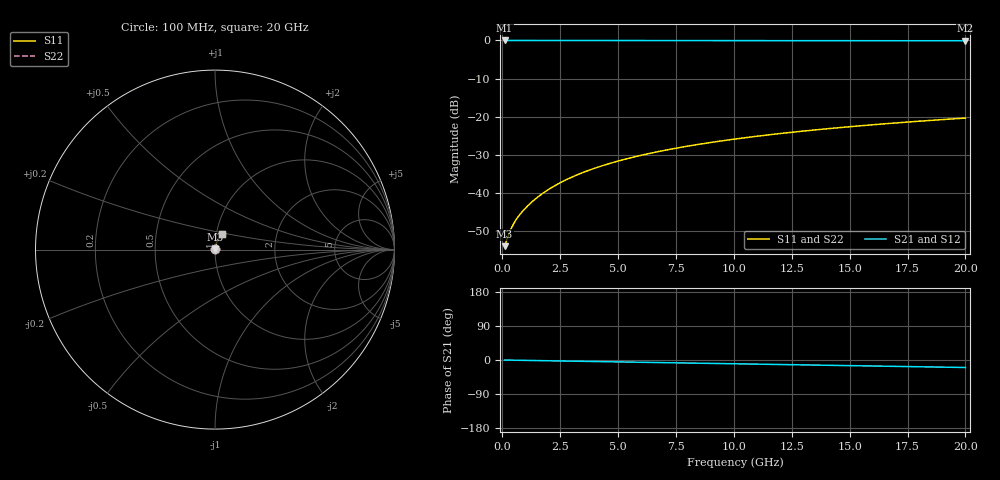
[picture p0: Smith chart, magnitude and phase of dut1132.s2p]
! Touchstone file exported from HFSS 2026.1.0
!  File:  C:/ffzhzh/LocalFiles/Ansys_Project_Files/temp_train_BSMRDL_1132_1783175298_51560.aedt
!  Generated:  10:29:29 PM Jul  4, 2026
!  Design:  BSMRDL
!  Project:  temp_train_BSMRDL_1132_1783175298_51560
! Variables:
!  h_bsmrdl = 2.68um
!  h_ox = 20um
!  h_rdl = 5um
!  h_sub = 80um
!  h_tmrdl = 5um
!  h_tsv = 80um
!  h_via = 3um
!  l_bsmrdl = 315.3um
!  l_sub = 715.3um
!  l_tmrdl = 200um
!  m_sub = 200um
!  pitch = 36.55um
!  r_tsv = 6um
!  s_tmrdl = 10um
!  w_bsmrdl = 27.52um
!  w_sub = 500um
!  w_tmrdl = 12um
!  x_tsv_center1 = 206um
!  x_tsv_center2 = 548.82um
!  x_tsv_center3 = 760.82um
!  x_tsv_center4 = 1103.64um
!  x_tsv_center5 = 1315.64um
!  x_tsv_center6 = 1658.46um
# GHz S MA R 50.000000
! Terminal data exported
! Port[1] = BSM_RDL1_1_T1
! Port[2] = BSM_RDL1_1_T2
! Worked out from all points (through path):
!   200 points, 100 MHz to 20 GHz, reference 50 ohm
!   highest |S21| = -0.02 dB at 100 MHz (marker M1); lowest = -0.1 dB at 20 GHz (marker M2)
!   group delay of S21, straight-line fit = 2.74 ps
!   lowest |S11| = -53.9 dB at 100 MHz (marker M3), VSWR 1.00, Z = 50.2 + j0.0748 ohm
!   |S11| at or under -10 dB: start of sweep to end of sweep
!   |S22| runs from -53.9 to -20.4 dB; largest |S21 - S12| = 2e-15
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0.1  0.002011 21.8  0.9981 -0.1  0.9981 -0.1  0.002011 21.8
! Gamma 0 0 0 0
! Port Impedance 50 0 50 0
0.3  0.002984 44.0  0.9979 -0.3  0.9979 -0.3  0.002984 44.0
0.4  0.003508 49.0  0.9977 -0.4  0.9977 -0.4  0.003508 49.0
0.5  0.004008 52.5  0.9976 -0.5  0.9976 -0.5  0.004008 52.5
0.6  0.004488 55.2  0.9975 -0.6  0.9975 -0.6  0.004488 55.2
0.8  0.005418 59.5  0.9973 -0.8  0.9973 -0.8  0.005418 59.5
1  0.00634 62.9  0.9972 -1.0  0.9972 -1.0  0.00634 62.9
1.2  0.007273 65.6  0.9971 -1.2  0.9971 -1.2  0.007272 65.6
1.7  0.009667 70.3  0.997 -1.7  0.997 -1.7  0.009667 70.3
2.2  0.01213 73.1  0.9969 -2.2  0.9969 -2.2  0.01213 73.1
2.8  0.01513 75.0  0.9967 -2.8  0.9967 -2.8  0.01513 75.0
3.5  0.01866 76.2  0.9965 -3.5  0.9965 -3.5  0.01866 76.2
4.2  0.02219 76.8  0.9963 -4.2  0.9963 -4.2  0.02219 76.8
5  0.02622 76.9  0.996 -5.0  0.996 -5.0  0.02622 76.9
5.9  0.03073 76.7  0.9956 -5.9  0.9956 -5.9  0.03073 76.7
6.8  0.0352 76.3  0.9952 -6.8  0.9952 -6.8  0.0352 76.3
8.3  0.04255 75.4  0.9944 -8.3  0.9944 -8.3  0.04255 75.4
10.1  0.05121 74.0  0.9935 -10.1  0.9935 -10.1  0.05121 74.0
11.7  0.05877 72.7  0.9925 -11.7  0.9925 -11.7  0.05877 72.7
13.4  0.06665 71.3  0.9915 -13.4  0.9915 -13.4  0.06665 71.3
16.7  0.08156 68.4  0.9895 -16.6  0.9895 -16.6  0.08156 68.4
20  0.09598 65.5  0.9874 -19.8  0.9874 -19.8  0.09598 65.5
